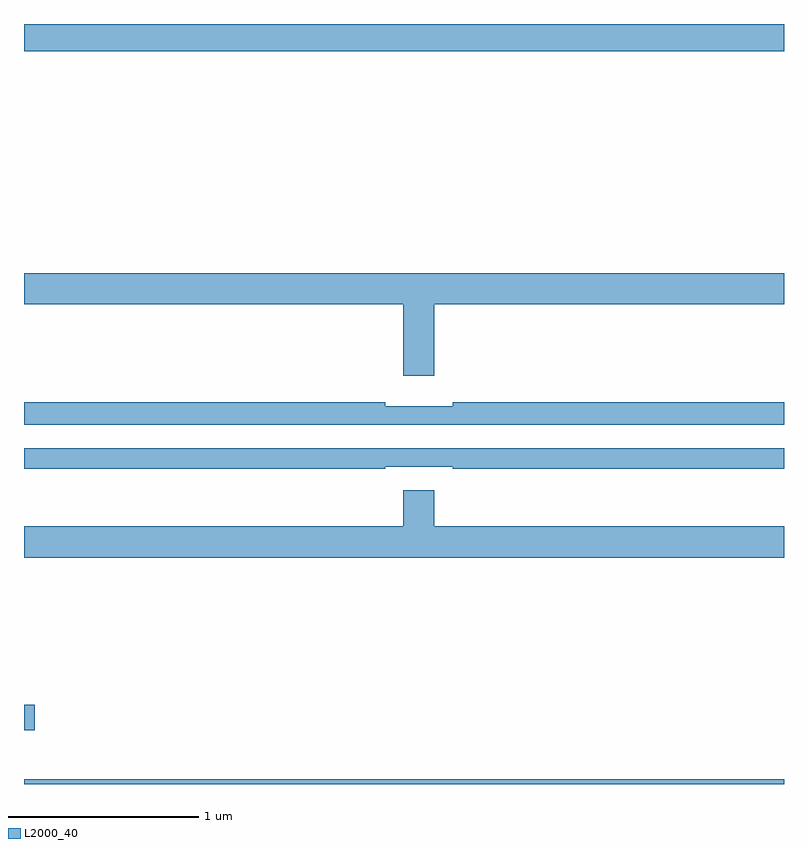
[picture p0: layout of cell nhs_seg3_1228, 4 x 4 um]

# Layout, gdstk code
import gdstk
lib = gdstk.Library(unit=1e-6, precision=1e-09)
def R(c, l, rs):  # rectangles x0, y0, x1, y1
    for r in rs: c.add(gdstk.rectangle(r[:2], r[2:], *l))
def P(c, l, *ps):  # polygons
    for p in ps: c.add(gdstk.Polygon(p, *l))
L2000_40 = (2000, 40)

nhs_seg3_1228 = lib.new_cell('nhs_seg3_1228')
R(nhs_seg3_1228, L2000_40, [(175,690.4,179,690.424), (175,690.683,175.057,690.818), (175,694.256,179,694.4)])
P(nhs_seg3_1228, L2000_40, [(177.16,692.924),(179,692.924),(179,693.088),(175,693.088),(175,692.924),(176.996,692.924),(176.996,692.55),(177.16,692.55)],
  [(179,692.408),(177.256,692.408),(177.256,692.389),(176.9,692.389),(176.9,692.408),(175,692.408),(175,692.292),(179,692.292)],
  [(176.9,692.07),(177.256,692.07),(177.256,692.058),(179,692.058),(179,692.166),(175,692.166),(175,692.058),(176.9,692.058)],
  [(179,691.756),(177.16,691.756),(177.16,691.945),(176.996,691.945),(176.996,691.756),(175,691.756),(175,691.592),(179,691.592)])

lib.write_gds('nhs_seg3_1228.gds')
